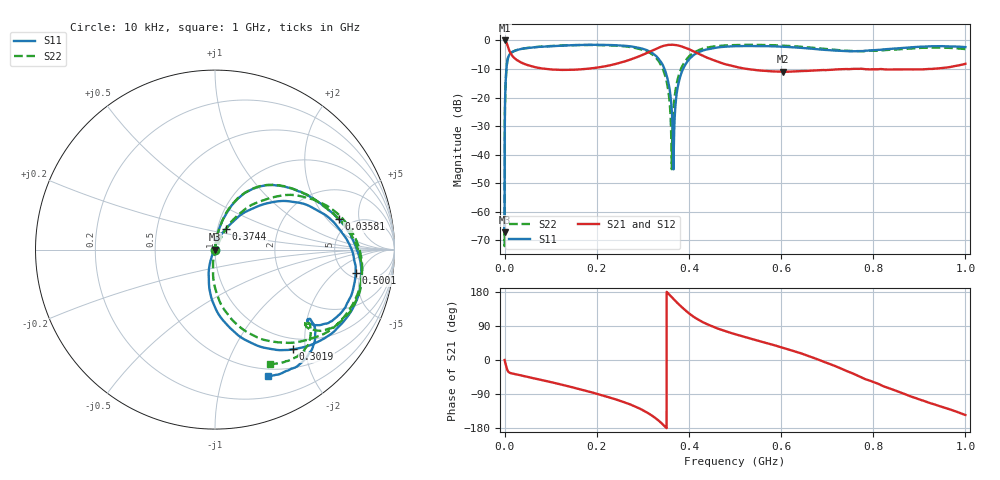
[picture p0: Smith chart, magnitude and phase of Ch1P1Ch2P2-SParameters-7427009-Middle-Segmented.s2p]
#  HZ  S  DB  R  50.00
! Rohde & Schwarz Vector Network Analyzer
! Rohde-Schwarz,ZNL6-2Port,1323001206101709,1.40.1.1-21.04.2.40
! Created: UTC 3/14/2023, 12:21:34 PM
! freq[Hz]  db:S11  ang:S11  db:S21  ang:S21  db:S12  ang:S12  db:S22  ang:S22
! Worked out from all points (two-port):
!   4997 points, 10 kHz to 1 GHz, reference 50 ohm
!   highest |S21| = 0.00 dB at 11.8 kHz (marker M1); lowest = -11.0 dB at 603.9 MHz (marker M2)
!   |S21| within 3 dB of the highest: start of sweep to 8.697 MHz; 327.7 MHz to 399.4 MHz (71.69 MHz wide, 19.7 % of centre)
!   lowest |S11| = -67.2 dB at 14.5 kHz (marker M3), VSWR 1.00, Z = 50 - j0.00643 ohm
!   |S11| at or under -10 dB: start of sweep to 3.99 MHz; 347 MHz to 387.3 MHz (40.3 MHz wide, 11 % of centre)
!   |S22| runs from -72.1 to -1.5 dB; largest |S21 - S12| = 0.012
!   S11 on the Smith chart (normalised r, x): 10 kHz: 1.00, -0.00; 35.81 MHz: 3.95, +2.70; 301.9 MHz: 0.80, -1.77; 374.4 MHz: 1.10, +0.26; 500.1 MHz: 5.82, -4.09; 1 GHz: 0.42, -1.41
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10000  -61.77 -56.8  -0.00 0.0  0.00 0.1  -65.24 -63.4
11800  -63.69 -44.6  -0.00 0.0  0.00 0.0  -69.66 -44.7
14500  -67.18 -8.4  -0.00 -0.0  0.00 0.0  -71.29 25.0
46900  -47.56 79.6  -0.01 -0.3  -0.01 -0.2  -47.40 79.9
101000  -40.39 82.1  -0.01 -0.6  -0.01 -0.6  -40.37 82.1
1010000  -21.27 80.6  -0.09 -5.1  -0.09 -5.1  -21.27 80.6
1.017887e7  -5.07 36.5  -3.59 -32.9  -3.60 -33.6  -5.07 36.8
3.581003e7  -2.99 13.8  -7.72 -40.6  -7.73 -42.0  -2.98 14.1
1.668832e8  -1.58 -12.1  -10.09 -78.3  -10.09 -79.6  -1.59 -11.4
3.019156e8  -3.03 -52.0  -4.87 -133.5  -4.90 -134.3  -3.38 -49.9
3.333815e8  -6.27 -75.6  -2.59 -159.2  -2.59 -159.8  -7.03 -72.8
3.533863e8  -13.31 -98.5  -1.58 177.7  -1.58 177.2  -15.81 -93.4
3.623468e8  -23.45 -111.8  -1.49 166.2  -1.49 165.7  -40.60 -72.3
3.681815e8  -30.82 80.3  -1.54 159.0  -1.54 158.5  -21.06 63.1
3.74433e8  -17.53 62.1  -1.69 151.2  -1.69 150.6  -14.38 59.0
3.867277e8  -10.18 47.5  -2.25 137.0  -2.25 136.3  -8.64 46.7
4.088163e8  -5.31 28.6  -3.72 115.3  -3.72 114.5  -4.46 28.5
5.000882e8  -2.00 -9.4  -9.17 68.1  -9.15 67.1  -1.63 -9.3
6.038632e8  -2.19 -28.6  -10.97 32.2  -10.96 31.2  -1.83 -28.7
6.667949e8  -2.90 -36.0  -10.61 7.5  -10.62 6.5  -2.49 -36.9
8.335017e8  -3.00 -38.1  -10.18 -74.2  -10.16 -75.1  -3.29 -39.1
1e9  -2.33 -67.5  -8.18 -145.1  -8.17 -146.1  -3.02 -64.4
